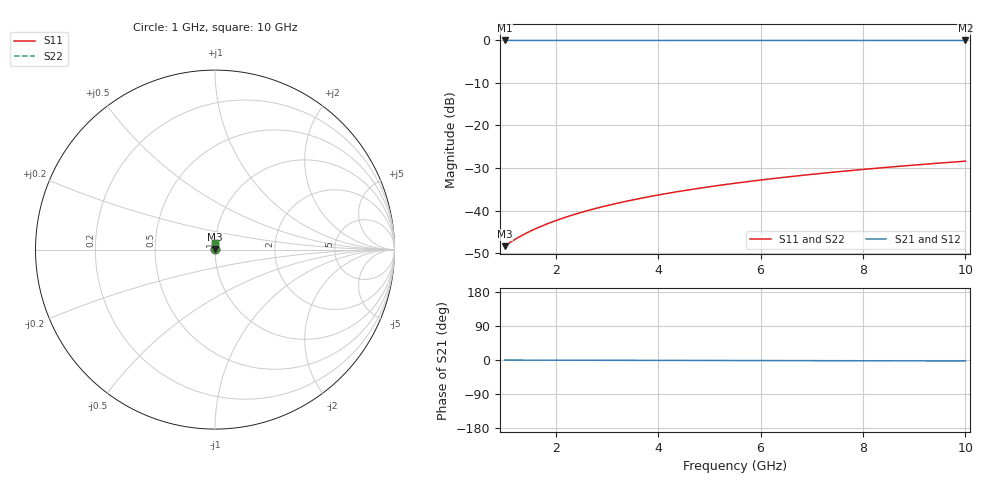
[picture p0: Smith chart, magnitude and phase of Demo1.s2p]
! Sonnet Data File
! From: em Version : 14.52
! From Project: Demo1
! Data is De-embedded
! Data File Written: 09/12/2018 21:58:52
!< HDATE 9/12/2018 21:58:48
!< MDATE 9/12/2018 21:58:48
# GHZ S MA R 50.00000
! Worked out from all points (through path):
!   361 points, 1 GHz to 10 GHz, reference 50 ohm
!   highest |S21| = 0.00 dB at 1 GHz (marker M1); lowest = 0.0 dB at 10 GHz (marker M2)
!   lowest |S11| = -48.4 dB at 1 GHz (marker M3), VSWR 1.01, Z = 50 + j0.381 ohm
!   |S11| at or under -10 dB: start of sweep to end of sweep
!   |S22| runs from -48.4 to -28.4 dB; largest |S21 - S12| = 0
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1  0.003807 89.7  1 -0.3  1 -0.3  0.003807 89.7
!< P1 F=1.0 Eeff=(undefined: sl) Z0=(undefined: sl) R=0.0 C=0.0
!< P2 F=1.0 Eeff=(undefined: sl) Z0=(undefined: sl) R=0.0 C=0.0
1.125  0.004283 89.7  1 -0.3  1 -0.3  0.004283 89.7
1.275  0.004854 89.7  1 -0.3  1 -0.3  0.004854 89.7
1.45  0.00552 89.6  1 -0.4  1 -0.4  0.00552 89.6
1.625  0.006187 89.6  1 -0.4  1 -0.4  0.006187 89.6
1.825  0.006948 89.5  1 -0.5  1 -0.5  0.006948 89.5
2.025  0.00771 89.5  1 -0.5  1 -0.5  0.00771 89.5
2.25  0.008566 89.4  1 -0.6  1 -0.6  0.008566 89.4
2.5  0.009518 89.4  1 -0.6  1 -0.6  0.009518 89.4
2.825  0.01076 89.3  0.9999 -0.7  0.9999 -0.7  0.01076 89.3
3.175  0.01209 89.2  0.9999 -0.8  0.9999 -0.8  0.01209 89.2
3.575  0.01361 89.1  0.9999 -0.9  0.9999 -0.9  0.01361 89.1
4  0.01523 89.0  0.9999 -1.0  0.9999 -1.0  0.01523 89.0
4.325  0.01646 88.9  0.9999 -1.1  0.9999 -1.1  0.01646 88.9
4.7  0.01789 88.8  0.9998 -1.2  0.9998 -1.2  0.01789 88.8
5.5  0.02093 88.6  0.9998 -1.4  0.9998 -1.4  0.02093 88.6
6.225  0.02369 88.4  0.9997 -1.6  0.9997 -1.6  0.02369 88.4
7  0.02664 88.2  0.9996 -1.8  0.9996 -1.8  0.02664 88.2
7.725  0.02939 88.1  0.9996 -1.9  0.9996 -1.9  0.02939 88.1
8.5  0.03234 87.9  0.9995 -2.1  0.9995 -2.1  0.03234 87.9
9.225  0.03509 87.7  0.9994 -2.3  0.9994 -2.3  0.03509 87.7
10  0.03804 87.5  0.9993 -2.5  0.9993 -2.5  0.03804 87.5
